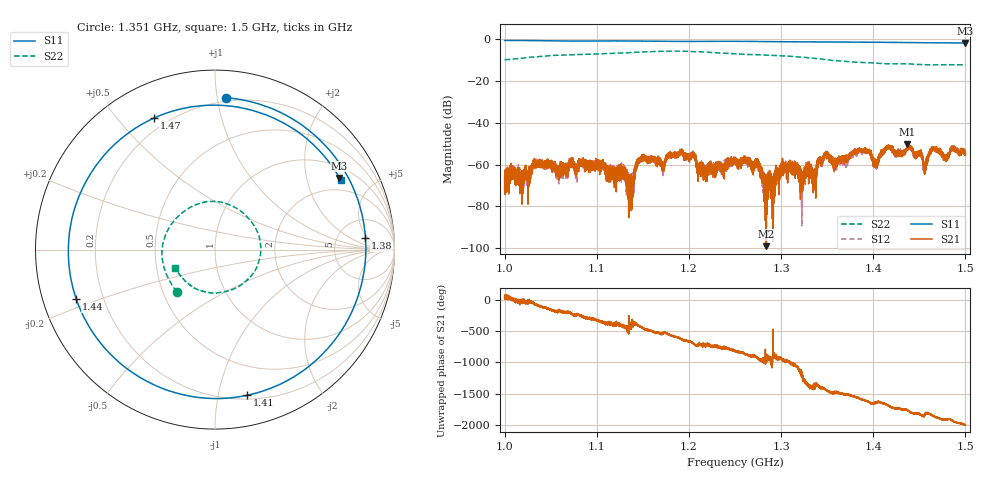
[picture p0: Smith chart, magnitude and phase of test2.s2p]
!Keysight Technologies N9923A: A.08.15
!Date: Friday, 16 February 2024 21:12:10
!Timezone: (GMT-05:00) Eastern Time (US & Canada)
!Model: N9923A
!Serial: MY52412730
!GPS Latitude:
!GPS Longitude:
!GPS TimeStamp: 0001-01-01 00:00:00Z
!GPS Seconds Since Last Read: 0
!CHECKSUM:0122803140
!Correction: S11(ON Q)S21(ON Q)S12(ON Q)S22(ON Q)
!S2P File: Measurements:S11,S21,S12,S22:
# Hz S DB R 50
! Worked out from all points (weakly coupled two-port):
!   10001 points, 1 GHz to 1.5 GHz, reference 50 ohm
!   highest |S21| = -50.37 dB at 1.437 GHz (marker M1); lowest = -99.0 dB at 1.284 GHz (marker M2)
!   lowest |S11| = -1.9 dB at 1.5 GHz (marker M3), VSWR 9.00, Z = 70.9 + j157 ohm
!   |S11| at or under -10 dB: nowhere
!   |S22| runs from -12.4 to -5.8 dB; largest |S21 - S12| = 0.00083
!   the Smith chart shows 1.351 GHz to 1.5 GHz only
!   S11 on the Smith chart (normalised r, x): 1.351 GHz: 0.18, +1.06; 1.38 GHz: 10, +4; 1.41 GHz: 0.23, -1.22; 1.44 GHz: 0.10, -0.17; 1.47 GHz: 0.15, +0.63; 1.5 GHz: 1.48, +3.22
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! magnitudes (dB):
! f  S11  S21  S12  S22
! 1 GHz  -0.7  -65.4  -72.3  -9.9
! 1.083 GHz  -1.0  -57.6  -59.7  -7.4
! 1.129 GHz  -0.9  -66.7  -64.1  -6.7
! 1.137 GHz  -0.9  -68.4  -64.6  -6.5
! 1.147 GHz  -1.0  -58.0  -58.4  -6.3
! 1.167 GHz  -1.1  -59.1  -58.5  -5.9
! 1.25 GHz  -1.1  -56.5  -57.6  -7.1
! 1.274 GHz  -1.2  -58.9  -59.9  -7.5
! 1.284 GHz  -1.3  -99.0  -73.6  -7.7
! 1.303 GHz  -1.3  -61.5  -60.9  -8.1
! 1.333 GHz  -1.4  -65.2  -65.6  -9.1
! 1.351 GHz  -1.4  -55.2  -56.3  -10.0
! 1.38 GHz  -1.5  -53.8  -53.4  -11.1
! 1.41 GHz  -1.6  -54.4  -54.2  -11.7
! 1.417 GHz  -1.6  -51.8  -51.3  -11.9
! 1.437 GHz  -1.7  -50.4  -51.8  -11.9
! 1.44 GHz  -1.7  -51.4  -52.5  -11.9
! 1.456 GHz  -1.8  -61.6  -62.8  -12.3
! 1.47 GHz  -1.9  -52.4  -52.6  -12.3
! 1.5 GHz  -1.9  -54.9  -53.9  -12.3
! 1.5 GHz  -1.9  -54.9  -53.8  -12.3
! 1.5 GHz  -1.9  -54.8  -55.5  -12.3
